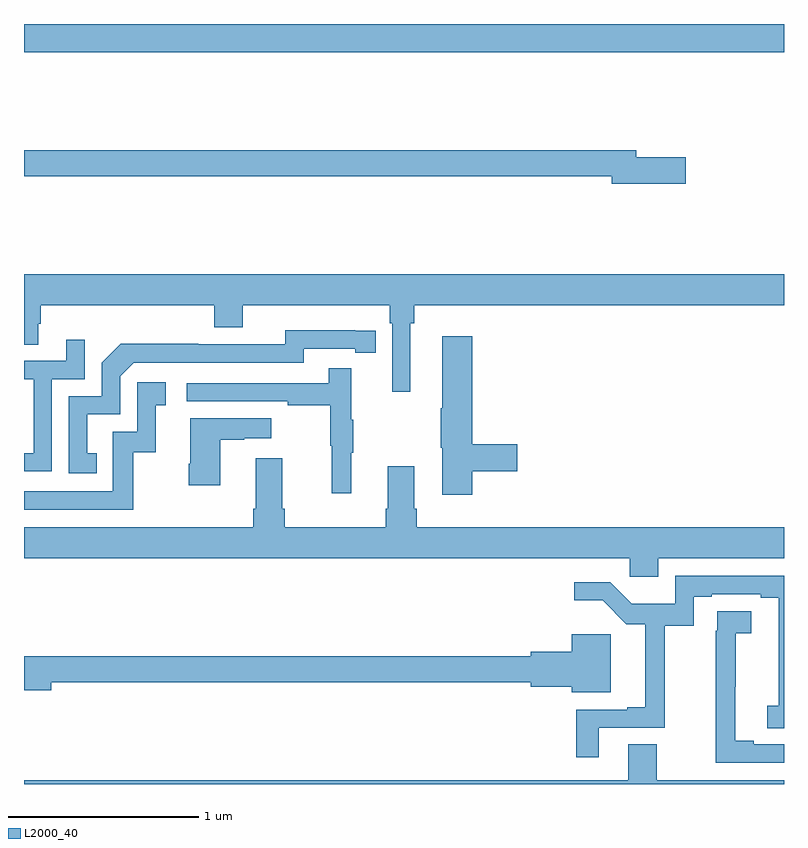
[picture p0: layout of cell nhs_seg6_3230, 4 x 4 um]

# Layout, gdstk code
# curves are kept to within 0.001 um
import gdstk
lib = gdstk.Library(unit=1e-6, precision=1e-09)
def R(c, l, rs):  # rectangles x0, y0, x1, y1
    for r in rs: c.add(gdstk.rectangle(r[:2], r[2:], *l))
def P(c, l, *ps):  # polygons
    for p in ps: c.add(gdstk.Polygon(p, *l))
L2000_40 = (2000, 40)

nhs_seg6_3230 = lib.new_cell('nhs_seg6_3230')
R(nhs_seg6_3230, L2000_40, [(301,931.352,305,931.5)])
P(nhs_seg6_3230, L2000_40, [(304.483,930.8),(304.222,930.8),(304.222,930.836),(301,930.836),(301,930.7),(304.094,930.7),(304.094,930.658),(304.483,930.658)],
  [(303.034,929.924),(303.053,929.924),(303.053,930.02),(305,930.02),(305,930.184),(301,930.184),(301,929.812),(301.075,929.812),(301.075,929.922),(301.088,929.922),(301.088,930.02),(302,930.02),(302,929.903),(302.152,929.903),(302.152,930.02),(302.924,930.02),(302.924,929.924),(302.937,929.924),(302.937,929.565),(303.034,929.565)],
  [(301.382,929.241),(301.333,929.241),(301.333,929.445),(301.506,929.445),(301.506,929.646),(301.578,929.718),(302.472,929.718),(302.472,929.79),(302.744,929.79),(302.744,929.77),(302.852,929.77),(302.852,929.886),(302.376,929.887),(302.376,929.814),(301.916,929.814),(301.916,929.816),(301.508,929.816),(301.41,929.718),(301.41,929.541),(301.236,929.541),(301.236,929.136),(301.382,929.136)],
  [(303.359,929.146),(303.595,929.146),(303.595,929.288),(303.359,929.288),(303.359,929.857),(303.2,929.857),(303.2,929.477),(303.193,929.477),(303.193,929.271),(303.2,929.271),(303.2,929.022),(303.359,929.022)],
  [(301.146,929.631),(301.32,929.631),(301.32,929.839),(301.223,929.839),(301.223,929.727),(301,929.727),(301,929.631),(301.05,929.631),(301.05,929.242),(301,929.242),(301,929.145),(301.146,929.145)],
  [(302.723,929.243),(302.734,929.243),(302.734,929.417),(302.723,929.417),(302.723,929.689),(302.605,929.689),(302.605,929.61),(301.857,929.61),(301.857,929.514),(302.389,929.514),(302.389,929.494),(302.613,929.494),(302.613,929.28),(302.62,929.28),(302.62,929.031),(302.723,929.031)],
  [(301.576,929.247),(301.694,929.247),(301.694,929.493),(301.747,929.493),(301.747,929.614),(301.596,929.614),(301.596,929.355),(301.467,929.355),(301.467,929.04),(301,929.04),(301,928.944),(301.576,928.944)],
  [(302.032,929.311),(302.159,929.311),(302.159,929.321),(302.302,929.321),(302.302,929.425),(301.874,929.425),(301.874,929.185),(301.867,929.185),(301.867,929.073),(302.032,929.073)],
  [(304.339,928.688),(305,928.688),(305,928.852),(303.068,928.852),(303.068,928.948),(303.055,928.948),(303.055,929.173),(302.915,929.173),(302.915,928.948),(302.903,928.948),(302.903,928.852),(302.372,928.852),(302.372,928.948),(302.359,928.948),(302.359,929.215),(302.219,929.215),(302.219,928.948),(302.207,928.948),(302.207,928.852),(301,928.852),(301,928.688),(304.188,928.688),(304.188,928.59),(304.339,928.59)],
  [(304.024,927.795),(304.373,927.795),(304.373,928.333),(304.524,928.333),(304.524,928.486),(304.621,928.486),(304.621,928.5),(304.877,928.5),(304.877,928.48),(304.973,928.48),(304.972,927.913),(304.911,927.913),(304.911,927.793),(305,927.793),(305,928.596),(304.428,928.596),(304.428,928.45),(304.199,928.45),(304.086,928.563),(303.897,928.563),(303.897,928.466),(304.045,928.466),(304.171,928.341),(304.271,928.341),(304.271,927.904),(304.175,927.904),(304.175,927.891),(303.907,927.891),(303.907,927.642),(304.024,927.642)],
  [(305,927.708),(304.84,927.708),(304.84,927.728),(304.744,927.728),(304.744,928.011),(304.746,928.011),(304.746,928.294),(304.828,928.294),(304.828,928.409),(304.648,928.409),(304.648,928.307),(304.642,928.307),(304.642,927.612),(305,927.612)],
  [(304.087,928.288),(303.884,928.288),(303.884,928.196),(303.668,928.196),(303.668,928.172),(301,928.172),(301,927.994),(301.144,927.994),(301.144,928.036),(303.668,928.036),(303.668,928.013),(303.884,928.013),(303.884,927.983),(304.087,927.983)],
  [(305,927.52),(304.329,927.52),(304.329,927.71),(304.181,927.71),(304.181,927.52),(301,927.52),(301,927.5),(305,927.5)])

lib.write_gds('nhs_seg6_3230.gds')
